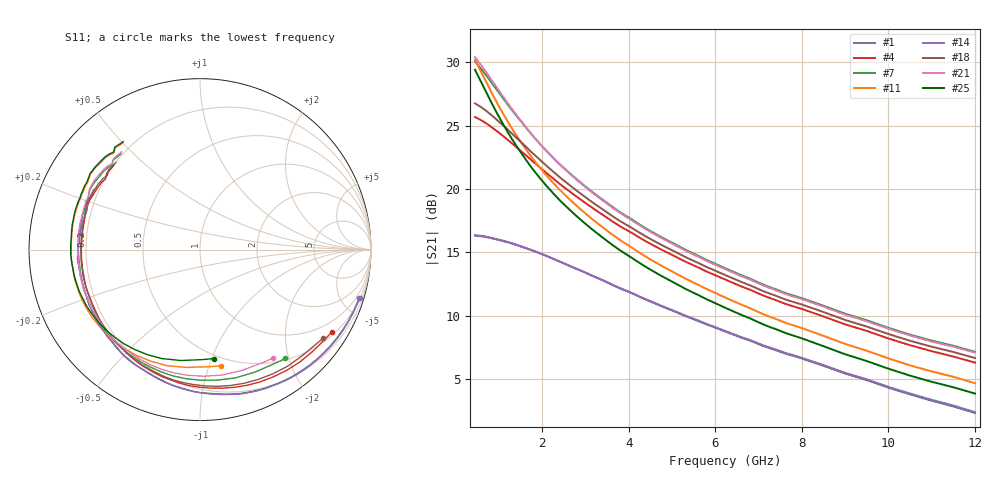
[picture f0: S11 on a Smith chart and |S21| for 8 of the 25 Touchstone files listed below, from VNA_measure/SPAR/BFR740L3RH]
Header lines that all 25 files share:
! Infineon Technologies  Discrete & RF Semiconductors
! BFR740L3RH
! Common Emitter S-Parameters:  May 2012
# GHz  S  MA  R  50
!  f  S11  S21  S12  S22
! GHz  MAG  ANG  MAG  ANG  MAG  ANG  MAG  ANG
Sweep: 450 MHz to 12 GHz
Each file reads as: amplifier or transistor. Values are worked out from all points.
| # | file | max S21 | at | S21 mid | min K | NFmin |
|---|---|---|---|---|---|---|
| 1 | BFR740L3RH_w_noise_VCE_3.0V_IC_2.0mA.s2p | 16.4 dB | 450 MHz | 11.0 dB at 4.6 GHz | -0.02 | 0.30 dB |
| 2 | BFR740L3RH_w_noise_VCE_3.0V_IC_4.0mA.s2p | 21.3 dB | 450 MHz | 13.7 dB at 4.6 GHz | 0.04 | 0.35 dB |
| 3 | BFR740L3RH_w_noise_VCE_3.0V_IC_6.0mA.s2p | 23.9 dB | 450 MHz | 14.9 dB at 4.6 GHz | 0.07 | 0.43 dB |
| 4 | BFR740L3RH_w_noise_VCE_3.0V_IC_8.0mA.s2p | 25.7 dB | 450 MHz | 15.5 dB at 4.6 GHz | 0.06 | 0.51 dB |
| 5 | BFR740L3RH_w_noise_VCE_3.0V_IC_10mA.s2p | 26.9 dB | 450 MHz | 15.9 dB at 4.6 GHz | -0.10 | 0.59 dB |
| 6 | BFR740L3RH_w_noise_VCE_3.0V_IC_15mA.s2p | 28.9 dB | 450 MHz | 16.4 dB at 4.6 GHz | 0.00 | 0.72 dB |
| 7 | BFR740L3RH_w_noise_VCE_3.0V_IC_20mA.s2p | 30.0 dB | 450 MHz | 16.5 dB at 4.6 GHz | 0.08 | 0.90 dB |
| 8 | BFR740L3RH_w_noise_VCE_3.0V_IC_25mA.s2p | 30.7 dB | 450 MHz | 16.5 dB at 4.6 GHz | -0.04 | 1.03 dB |
| 9 | BFR740L3RH_w_noise_VCE_3.0V_IC_30mA.s2p | 31.1 dB | 450 MHz | 16.3 dB at 4.6 GHz | 0.04 | 1.19 dB |
| 10 | BFR740L3RH_w_noise_VCE_3.0V_IC_35mA.s2p | 31.1 dB | 450 MHz | 15.7 dB at 4.6 GHz | 0.12 | 1.30 dB |
| 11 | BFR740L3RH_w_noise_VCE_3.0V_IC_40mA.s2p | 30.2 dB | 450 MHz | 14.3 dB at 4.6 GHz | 0.19 | 1.40 dB |
| 12 | BFR740L3RH_w_noise_VCE_3.0V_IC_45mA.s2p | 27.9 dB | 450 MHz | 11.5 dB at 4.6 GHz | 0.29 | 1.51 dB |
| 13 | BFR740L3RH_w_noise_VCE_4.0V_IC_1.0mA.s2p | 11.2 dB | 450 MHz | 7.4 dB at 4.6 GHz | 0.05 | 0.29 dB |
| 14 | BFR740L3RH_w_noise_VCE_4.0V_IC_2.0mA.s2p | 16.3 dB | 450 MHz | 11.0 dB at 4.6 GHz | 0.01 | 0.30 dB |
| 15 | BFR740L3RH_w_noise_VCE_4.0V_IC_4.0mA.s2p | 21.2 dB | 450 MHz | 13.8 dB at 4.6 GHz | -0.06 | 0.35 dB |
| 16 | BFR740L3RH_w_noise_VCE_4.0V_IC_6.0mA.s2p | 23.8 dB | 450 MHz | 14.9 dB at 4.6 GHz | 0.07 | 0.43 dB |
| 17 | BFR740L3RH_w_noise_VCE_4.0V_IC_8.0mA.s2p | 25.5 dB | 450 MHz | 15.5 dB at 4.6 GHz | -0.03 | 0.51 dB |
| 18 | BFR740L3RH_w_noise_VCE_4.0V_IC_10mA.s2p | 26.8 dB | 450 MHz | 15.9 dB at 4.6 GHz | 0.11 | 0.59 dB |
| 19 | BFR740L3RH_w_noise_VCE_4.0V_IC_15mA.s2p | 28.7 dB | 450 MHz | 16.3 dB at 4.6 GHz | 0.10 | 0.72 dB |
| 20 | BFR740L3RH_w_noise_VCE_4.0V_IC_20mA.s2p | 29.7 dB | 450 MHz | 16.5 dB at 4.6 GHz | 0.10 | 0.90 dB |
| 21 | BFR740L3RH_w_noise_VCE_4.0V_IC_25mA.s2p | 30.4 dB | 450 MHz | 16.4 dB at 4.6 GHz | 0.11 | 1.03 dB |
| 22 | BFR740L3RH_w_noise_VCE_4.0V_IC_30mA.s2p | 30.7 dB | 450 MHz | 16.3 dB at 4.6 GHz | 0.01 | 1.19 dB |
| 23 | BFR740L3RH_w_noise_VCE_4.0V_IC_35mA.s2p | 30.8 dB | 450 MHz | 15.9 dB at 4.6 GHz | 0.12 | 1.30 dB |
| 24 | BFR740L3RH_w_noise_VCE_4.0V_IC_40mA.s2p | 30.5 dB | 450 MHz | 15.1 dB at 4.6 GHz | 0.15 | 1.40 dB |
| 25 | BFR740L3RH_w_noise_VCE_4.0V_IC_45mA.s2p | 29.4 dB | 450 MHz | 13.5 dB at 4.6 GHz | 0.24 | 1.51 dB |

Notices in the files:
internship_Nexedi/test_ampli_simple/VNA_measure/SPAR/BFR740L3RH/BFR740L3RH_w_noise_VCE_3.0V_IC_10mA.s2p:
(c) 2012  Infineon Technologies AG, Munich
